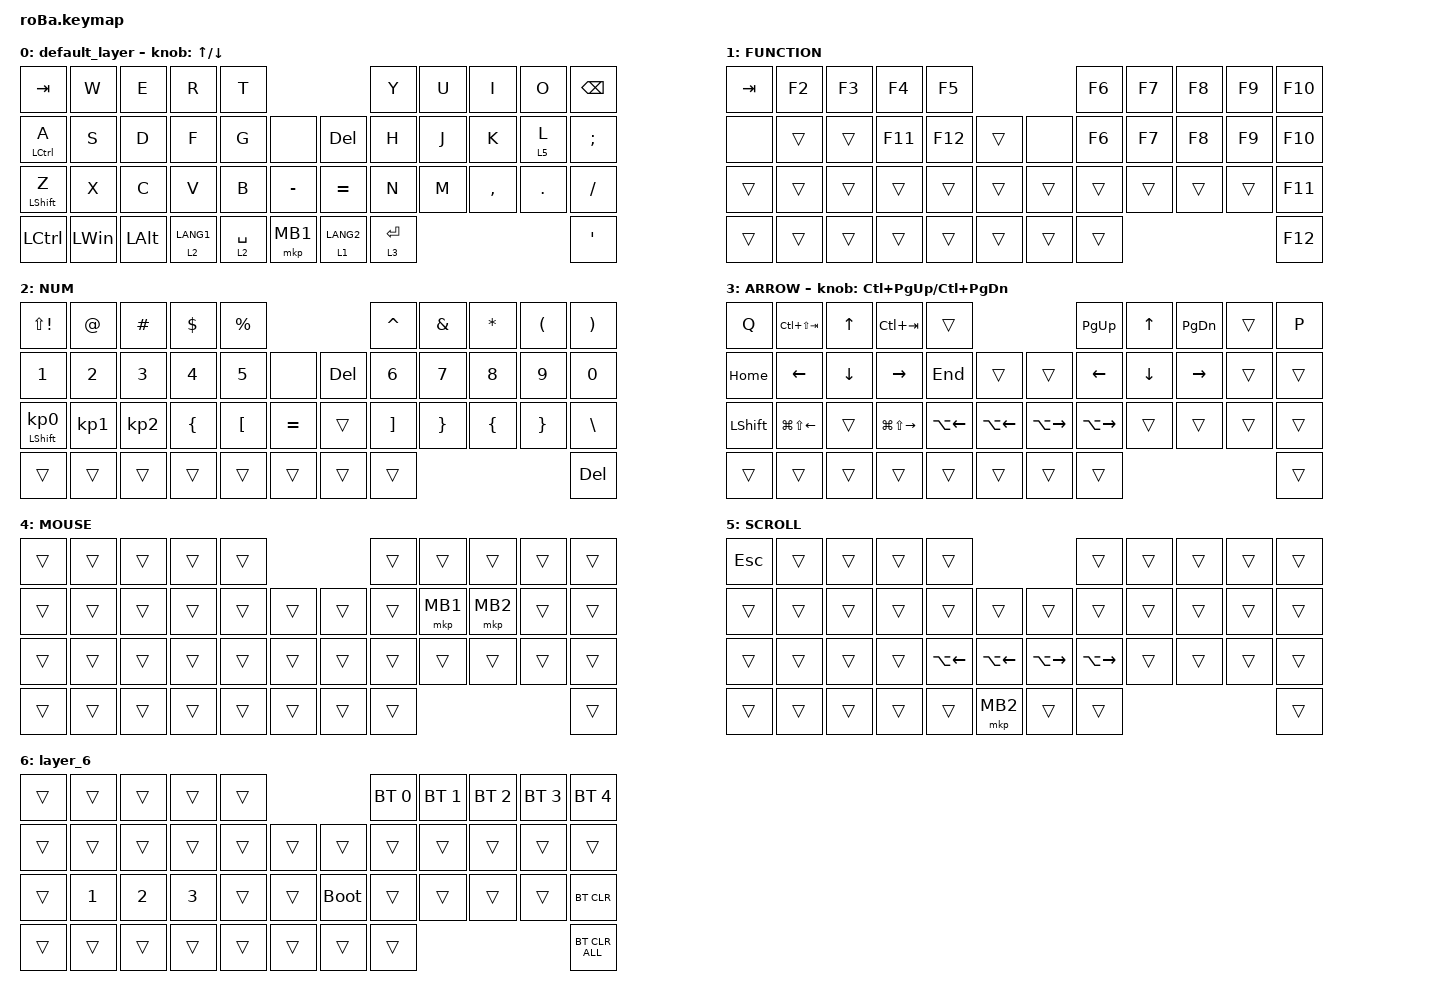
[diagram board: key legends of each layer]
#include <behaviors.dtsi>
#include <dt-bindings/zmk/bt.h>
#include <dt-bindings/zmk/keys.h>
#include <dt-bindings/zmk/pointing.h>

#define MOUSE 4
#define SCROLL 5
#define NUM 6

&mt {
    flavor = "balanced";
    quick-tap-ms = <0>;
};

/ {
    combos {
        compatible = "zmk,combos";

        tab {
            bindings = <&kp TAB>;
            key-positions = <11 12>;
        };

        shift_tab {
            bindings = <&kp LS(TAB)>;
            key-positions = <12 13>;
        };

        muhennkann {
            bindings = <&to_layer_0 LA(TAB)>;
            key-positions = <36 0>;
        };

        q {
            bindings = <&kp Q>;
            key-positions = <0 1>;
        };

        p {
            bindings = <&kp P>;
            key-positions = <8 9>;
        };
    };

    macros {
        to_layer_0: to_layer_0 {
            compatible = "zmk,behavior-macro-one-param";
            #binding-cells = <1>;
            bindings = <&to 0 &macro_param_1to1 &kp MACRO_PLACEHOLDER>;
            label = "TO_LAYER_0";
        };
    };

    behaviors {
        lt_to_layer_0: lt_to_layer_0 {
            compatible = "zmk,behavior-hold-tap";
            label = "LAYER_TAP_TO_0";
            bindings = <&mo>, <&to_layer_0>;

            #binding-cells = <2>;
            tapping-term-ms = <200>;
        };
    };

    keymap {
        compatible = "zmk,keymap";

        default_layer {
            bindings = <
&kp TAB           &kp W         &kp E         &kp R                   &kp T                                    &kp Y        &kp U  &kp I      &kp O               &kp BACKSPACE
&mt LCTRL A       &kp S         &kp D         &kp F                   &kp G        &none          &kp DELETE   &kp H        &kp J  &kp K      &lt_to_layer_0 5 L  &kp SEMICOLON
&mt LEFT_SHIFT Z  &kp X         &kp C         &kp V                   &kp B        &kp MINUS      &kp EQUAL    &kp N        &kp M  &kp COMMA  &kp DOT             &kp SLASH
&kp LCTRL         &kp LEFT_WIN  &kp LEFT_ALT  &lt_to_layer_0 2 LANG1  &lt 2 SPACE  &mkp MB1       &lt 1 LANG2  &lt 3 ENTER                                        &kp SQT
            >;

            sensor-bindings = <&inc_dec_kp UP_ARROW DOWN_ARROW>;
        };

        FUNCTION {
            bindings = <
&kp TAB  &kp F2  &kp F3  &kp F4   &kp F5                       &kp F6  &kp F7  &kp F8  &kp F9  &kp F10
&none    &trans  &trans  &kp F11  &kp F12  &trans      &none   &kp F6  &kp F7  &kp F8  &kp F9  &kp F10
&trans   &trans  &trans  &trans   &trans   &trans      &trans  &trans  &trans  &trans  &trans  &kp F11
&trans   &trans  &trans  &trans   &trans   &trans      &trans  &trans                          &kp F12
            >;
        };

        NUM {
            bindings = <
&kp LS(EXCLAMATION)         &kp AT_SIGN      &kp HASH         &kp DOLLAR      &kp PERCENT                               &kp CARET          &kp AMPERSAND    &kp ASTERISK    &kp LEFT_PARENTHESIS  &kp RIGHT_PARENTHESIS
&kp NUMBER_1                &kp NUMBER_2     &kp NUMBER_3     &kp NUMBER_4    &kp NUMBER_5      &none          &kp DEL  &kp NUMBER_6       &kp NUMBER_7     &kp NUMBER_8    &kp NUMBER_9          &kp NUMBER_0
&mt LEFT_SHIFT KP_NUMBER_0  &kp KP_NUMBER_1  &kp KP_NUMBER_2  &kp LEFT_BRACE  &kp LEFT_BRACKET  &kp EQUAL      &trans   &kp RIGHT_BRACKET  &kp RIGHT_BRACE  &kp LEFT_BRACE  &kp RIGHT_BRACE       &kp BACKSLASH
&trans                      &trans           &trans           &trans          &trans            &trans         &trans   &trans                                                                    &kp DEL
            >;
        };

        ARROW {
            bindings = <
&kp Q           &kp LC(LS(TAB))         &kp UP_ARROW    &kp LC(TAB)              &trans                                                           &kp PAGE_UP          &kp UP_ARROW    &kp PAGE_DOWN    &trans  &kp P
&kp HOME        &kp LEFT_ARROW          &kp DOWN_ARROW  &kp RIGHT_ARROW          &kp END             &trans                  &trans               &kp LEFT_ARROW       &kp DOWN_ARROW  &kp RIGHT_ARROW  &trans  &trans
&kp LEFT_SHIFT  &kp LG(LS(LEFT_ARROW))  &trans          &kp LG(LS(RIGHT_ARROW))  &kp LA(LEFT_ARROW)  &kp LA(LEFT_ARROW)      &kp LA(RIGHT_ARROW)  &kp LA(RIGHT_ARROW)  &trans          &trans           &trans  &trans
&trans          &trans                  &trans          &trans                   &trans              &trans                  &trans               &trans                                                        &trans
            >;

            sensor-bindings = <&inc_dec_kp LC(PAGE_UP) LC(PAGE_DOWN)>;
        };

        MOUSE {
            bindings = <
&trans  &trans  &trans  &trans  &trans                      &trans  &trans    &trans    &trans  &trans
&trans  &trans  &trans  &trans  &trans  &trans      &trans  &trans  &mkp MB1  &mkp MB2  &trans  &trans
&trans  &trans  &trans  &trans  &trans  &trans      &trans  &trans  &trans    &trans    &trans  &trans
&trans  &trans  &trans  &trans  &trans  &trans      &trans  &trans                              &trans
            >;
        };

        SCROLL {
            bindings = <
&kp ESCAPE  &trans  &trans  &trans  &trans                                                           &trans               &trans  &trans  &trans  &trans
&trans      &trans  &trans  &trans  &trans              &trans                  &trans               &trans               &trans  &trans  &trans  &trans
&trans      &trans  &trans  &trans  &kp LA(LEFT_ARROW)  &kp LA(LEFT_ARROW)      &kp LA(RIGHT_ARROW)  &kp LA(RIGHT_ARROW)  &trans  &trans  &trans  &trans
&trans      &trans  &trans  &trans  &trans              &mkp MB2                &trans               &trans                                       &trans
            >;
        };

        layer_6 {
            bindings = <
&trans  &trans        &trans        &trans        &trans                           &bt BT_SEL 0  &bt BT_SEL 1  &bt BT_SEL 2  &bt BT_SEL 3  &bt BT_SEL 4
&trans  &trans        &trans        &trans        &trans  &trans      &trans       &trans        &trans        &trans        &trans        &trans
&trans  &kp NUMBER_1  &kp NUMBER_2  &kp NUMBER_3  &trans  &trans      &bootloader  &trans        &trans        &trans        &trans        &bt BT_CLR
&trans  &trans        &trans        &trans        &trans  &trans      &trans       &trans                                                  &bt BT_CLR_ALL
            >;
        };
    };
};
